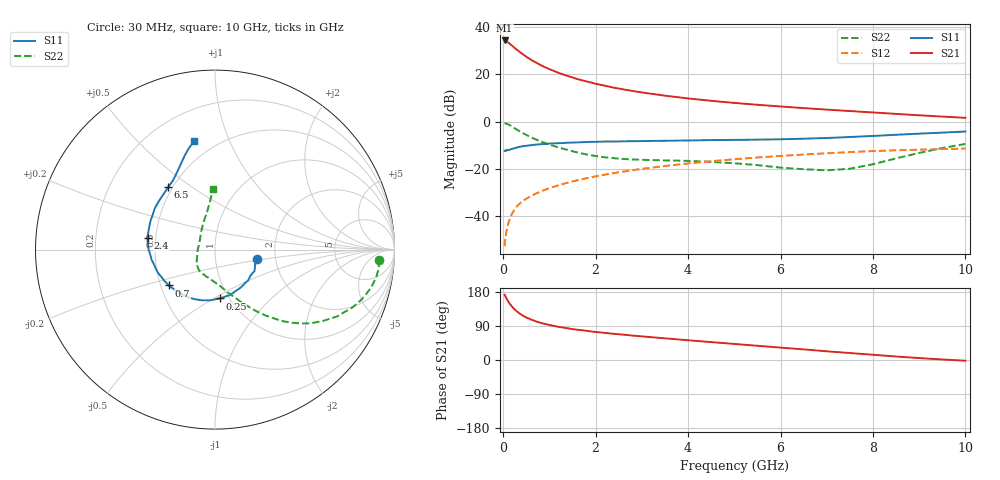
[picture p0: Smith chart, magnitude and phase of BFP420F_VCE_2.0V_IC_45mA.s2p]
! Infineon Technologies  Discrete & RF Semiconductors
! BFP420F
! VCE =  2.0 V,  IC =  45 mA
! Common Emitter S-Parameters:  Sep 2011
# GHz  S  MA  R  50
!  f  S11  S21  S12  S22
! GHz  MAG  ANG  MAG  ANG  MAG  ANG  MAG  ANG
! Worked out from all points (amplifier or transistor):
!   54 points, 30 MHz to 10 GHz, reference 50 ohm
!   highest |S21| = 34.4 dB at 30 MHz (marker M1)
!   |S21| within 3 dB of that: start of sweep to 237.7 MHz
!   unconditionally stable (mu >= 1): 1.244 GHz to end of sweep
!   at 120 MHz: K = 0.42, MSG = 37.9 dB, |S12| = -42.4 dB
!   at 1.3 GHz: K = 1.01, MAG = 22.5 dB, |S12| = -26.4 dB
!   at 10 GHz: K = 1.22, MAG = 3.7 dB, |S12| = -11.4 dB
!   S11 on the Smith chart (normalised r, x): 30 MHz: 1.61, -0.18; 250 MHz: 0.90, -0.53; 700 MHz: 0.55, -0.25; 2.4 GHz: 0.45, +0.07; 6.5 GHz: 0.47, +0.41; 10 GHz: 0.38, +0.75
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0.03  0.2424 -12.9  52.35 172.3  0.0023 92.7  0.916 -3.6
0.07  0.2507 -28.7  50.38 162.8  0.0048 85.1  0.9057 -11.0
0.1  0.2495 -40.9  48.23 156.2  0.0065 82.0  0.8812 -15.9
0.12  0.2502 -47.5  46.5 152.1  0.0076 80.0  0.8615 -18.9
0.15  0.2557 -57.4  43.85 147.0  0.0092 77.8  0.8297 -22.9
0.2  0.2665 -72.0  39.9 139.6  0.0117 75.2  0.7755 -28.7
0.25  0.2736 -84.7  36.19 133.2  0.0139 72.9  0.7215 -33.4
0.35  0.2918 -104.5  30.27 123.1  0.0181 70.3  0.6285 -40.9
0.45  0.3046 -118.7  25.65 115.4  0.0217 68.7  0.5541 -46.2
0.6  0.3168 -134.4  20.46 106.9  0.0265 67.5  0.4652 -52.3
0.7  0.3251 -142.1  18.01 102.3  0.0297 67.3  0.422 -55.5
0.9  0.3355 -153.3  14.26 95.3  0.0358 67.2  0.3528 -60.8
1.1  0.3459 -161.8  11.79 89.8  0.0419 67.1  0.3026 -65.9
1.3  0.3522 -168.2  9.941 85.5  0.048 66.9  0.2657 -70.5
1.7  0.3655 -178.0  7.524 78.6  0.0601 65.9  0.2112 -80.4
2.4  0.3782 170.1  5.218 68.9  0.0816 63.1  0.1679 -98.4
3.5  0.3931 156.3  3.544 57.2  0.1148 57.7  0.1507 -118.9
5.5  0.4152 137.5  2.272 37.5  0.1738 44.9  0.1197 -148.4
6.5  0.4346 127.0  1.934 28.0  0.2008 38.0  0.098 -175.7
7  0.4497 121.5  1.795 23.0  0.2136 34.4  0.0929 166.3
8.5  0.5267 110.3  1.457 9.2  0.247 23.2  0.1663 112.6
10  0.6168 100.7  1.204 -1.9  0.2686 13.8  0.3365 92.3
